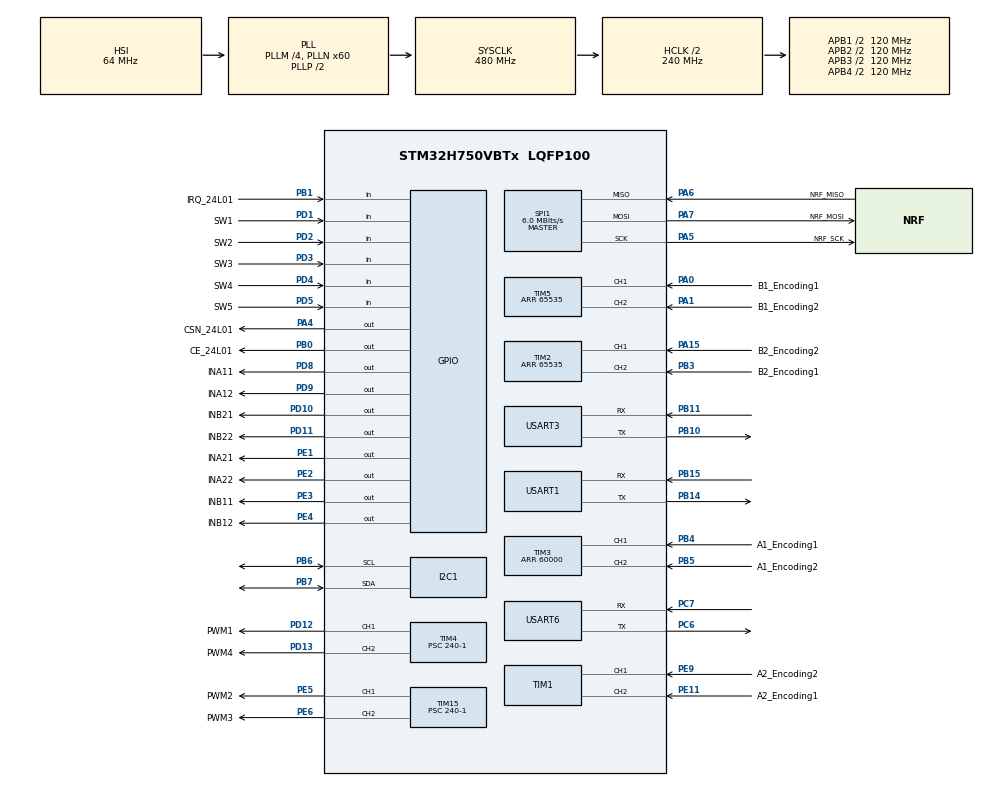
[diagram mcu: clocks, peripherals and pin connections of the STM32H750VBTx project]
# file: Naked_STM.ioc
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CORTEX_M7.default_mode_Activation=1
I2C1.Timing=0x307075B1
Mcu.Family=STM32H7
Mcu.Name=STM32H750VBTx
Mcu.Package=LQFP100
NVIC.PriorityGroup=NVIC_PRIORITYGROUP_4
NVIC.TIM1_CC_IRQn=true\:0\:0\:false\:false\:true\:true\:true\:true
NVIC.TIM2_IRQn=true\:0\:0\:false\:false\:true\:true\:true\:true
NVIC.TIM3_IRQn=true\:0\:0\:false\:false\:true\:true\:true\:true
NVIC.TIM5_IRQn=true\:0\:0\:false\:false\:true\:true\:true\:true
NVIC.TIM6_DAC_IRQn=true\:1\:0\:true\:false\:true\:true\:true\:true
NVIC.USART3_IRQn=true\:0\:0\:false\:false\:true\:true\:true\:true
NVIC.USART6_IRQn=true\:0\:0\:false\:false\:true\:true\:true\:true
PA0.GPIO_Label=B1_Encoding1
PA0.Signal=S_TIM5_CH1
PA1.GPIO_Label=B1_Encoding2
PA1.Signal=S_TIM5_CH2
PA15\ (JTDI).GPIO_Label=B2_Encoding2
PA15\ (JTDI).Signal=S_TIM2_CH1_ETR
PA4.GPIO_Label=CSN_24L01
PA4.GPIO_Speed=GPIO_SPEED_FREQ_MEDIUM
PA4.PinState=GPIO_PIN_SET
PA4.Signal=GPIO_Output
PA5.GPIO_Label=NRF_SCK
PA5.Mode=Full_Duplex_Master
PA5.Signal=SPI1_SCK
PA6.GPIO_Label=NRF_MISO
PA6.Mode=Full_Duplex_Master
PA6.Signal=SPI1_MISO
PA7.GPIO_Label=NRF_MOSI
PA7.Mode=Full_Duplex_Master
PA7.Signal=SPI1_MOSI
PB0.GPIO_Label=CE_24L01
PB0.GPIO_Speed=GPIO_SPEED_FREQ_MEDIUM
PB0.PinState=GPIO_PIN_SET
PB0.Signal=GPIO_Output
PB1.GPIO_Label=IRQ_24L01
PB1.GPIO_PuPd=GPIO_PULLUP
PB1.Signal=GPIO_Input
PB10.Mode=Asynchronous
PB10.Signal=USART3_TX
PB11.Mode=Asynchronous
PB11.Signal=USART3_RX
PB14.Mode=Asynchronous
PB14.Signal=USART1_TX
PB15.Mode=Asynchronous
PB15.Signal=USART1_RX
PB3\ (JTDO/TRACESWO).GPIO_Label=B2_Encoding1
PB3\ (JTDO/TRACESWO).Signal=S_TIM2_CH2
PB4\ (NJTRST).GPIO_Label=A1_Encoding1
PB4\ (NJTRST).Signal=S_TIM3_CH1
PB5.GPIO_Label=A1_Encoding2
PB5.Signal=S_TIM3_CH2
PB6.Mode=I2C
PB6.Signal=I2C1_SCL
PB7.Mode=I2C
PB7.Signal=I2C1_SDA
PC6.Mode=Asynchronous
PC6.Signal=USART6_TX
PC7.Mode=Asynchronous
PC7.Signal=USART6_RX
PD1.GPIO_Label=SW1
PD1.GPIO_PuPd=GPIO_PULLUP
PD1.Signal=GPIO_Input
PD10.GPIO_Label=INB21
PD10.Signal=GPIO_Output
PD11.GPIO_Label=INB22
PD11.Signal=GPIO_Output
PD12.GPIO_Label=PWM1
PD12.Signal=S_TIM4_CH1
PD13.GPIO_Label=PWM4
PD13.Signal=S_TIM4_CH2
PD2.GPIO_Label=SW2
PD2.GPIO_PuPd=GPIO_PULLUP
PD2.Signal=GPIO_Input
PD3.GPIO_Label=SW3
PD3.GPIO_PuPd=GPIO_PULLUP
PD3.Signal=GPIO_Input
PD4.GPIO_Label=SW4
PD4.GPIO_PuPd=GPIO_PULLUP
PD4.Signal=GPIO_Input
PD5.GPIO_Label=SW5
PD5.GPIO_PuPd=GPIO_PULLUP
PD5.Signal=GPIO_Input
PD8.GPIO_Label=INA11
PD8.Signal=GPIO_Output
PD9.GPIO_Label=INA12
PD9.Signal=GPIO_Output
PE1.GPIO_Label=INA21
PE1.Signal=GPIO_Output
PE11.GPIO_Label=A2_Encoding1
PE11.Signal=S_TIM1_CH2
PE2.GPIO_Label=INA22
PE2.Signal=GPIO_Output
PE3.GPIO_Label=INB11
PE3.Signal=GPIO_Output
PE4.GPIO_Label=INB12
PE4.Signal=GPIO_Output
PE5.GPIO_Label=PWM2
PE5.Signal=S_TIM15_CH1
PE6.GPIO_Label=PWM3
PE6.Signal=S_TIM15_CH2
PE9.GPIO_Label=A2_Encoding2
PE9.Signal=S_TIM1_CH1
PH0-OSC_IN\ (PH0).Mode=HSE-External-Oscillator
PH0-OSC_IN\ (PH0).Signal=RCC_OSC_IN
PH1-OSC_OUT\ (PH1).Mode=HSE-External-Oscillator
PH1-OSC_OUT\ (PH1).Signal=RCC_OSC_OUT
ProjectManager.HeapSize=0x200
ProjectManager.StackSize=0x400
ProjectManager.TargetToolchain=MDK-ARM V5.32
RCC.ADCFreq_Value=129000000
RCC.APB1Freq_Value=120000000
RCC.APB2Freq_Value=120000000
RCC.APB3Freq_Value=120000000
RCC.APB4Freq_Value=120000000
RCC.CortexFreq_Value=480000000
RCC.D1PPRE=RCC_APB3_DIV2
RCC.D2PPRE1=RCC_APB1_DIV2
RCC.D2PPRE2=RCC_APB2_DIV2
RCC.D3PPRE=RCC_APB4_DIV2
RCC.DIVM1=4
RCC.DIVN1=60
RCC.DIVQ1=5
RCC.HCLKFreq_Value=240000000
RCC.HPRE=RCC_HCLK_DIV2
RCC.PLL2FRACN=0
RCC.PLL3FRACN=0
RCC.PLLFRACN=0
RCC.SYSCLKFreq_VALUE=480000000
RCC.SYSCLKSource=RCC_SYSCLKSOURCE_PLLCLK
RCC.Tim1Mul=2
RCC.Tim2Mul=2
RCC.USBFreq_Value=192000000
SH.S_TIM15_CH1.0=TIM15_CH1,PWM Generation1 CH1
SH.S_TIM15_CH2.0=TIM15_CH2,PWM Generation2 CH2
SH.S_TIM1_CH1.0=TIM1_CH1,Encoder_Interface
SH.S_TIM1_CH2.0=TIM1_CH2,Encoder_Interface
SH.S_TIM2_CH1_ETR.0=TIM2_CH1,Encoder_Interface
SH.S_TIM2_CH2.0=TIM2_CH2,Encoder_Interface
SH.S_TIM3_CH1.0=TIM3_CH1,Encoder_Interface
SH.S_TIM3_CH2.0=TIM3_CH2,Encoder_Interface
SH.S_TIM4_CH1.0=TIM4_CH1,PWM Generation1 CH1
SH.S_TIM4_CH2.0=TIM4_CH2,PWM Generation2 CH2
SH.S_TIM5_CH1.0=TIM5_CH1,Encoder_Interface
SH.S_TIM5_CH2.0=TIM5_CH2,Encoder_Interface
SPI1.BaudRatePrescaler=SPI_BAUDRATEPRESCALER_32
SPI1.CalculateBaudRate=6.0 MBits/s
SPI1.DataSize=SPI_DATASIZE_8BIT
SPI1.Direction=SPI_DIRECTION_2LINES
SPI1.Mode=SPI_MODE_MASTER
SPI1.VirtualType=VM_MASTER
TIM1.EncoderMode=TIM_ENCODERMODE_TI12
TIM15.Channel-PWM\ Generation1\ CH1=TIM_CHANNEL_1
TIM15.Channel-PWM\ Generation2\ CH2=TIM_CHANNEL_2
TIM15.Period=499
TIM15.Prescaler=240-1
TIM2.EncoderMode=TIM_ENCODERMODE_TI12
TIM2.Period=65535
TIM3.EncoderMode=TIM_ENCODERMODE_TI12
TIM3.Period=60000
TIM4.Channel-PWM\ Generation1\ CH1=TIM_CHANNEL_1
TIM4.Channel-PWM\ Generation2\ CH2=TIM_CHANNEL_2
TIM4.Period=499
TIM4.Prescaler=240-1
TIM5.EncoderMode=TIM_ENCODERMODE_TI12
TIM5.Period=65535
TIM6.Period=10000-1
TIM6.Prescaler=2400-1
USART1.VirtualMode-Asynchronous=VM_ASYNC
USART3.VirtualMode-Asynchronous=VM_ASYNC
USART6.VirtualMode=VM_ASYNC
VP_TIM15_VS_ClockSourceINT.Mode=Internal
VP_TIM4_VS_ClockSourceINT.Mode=Internal
VP_TIM6_VS_ClockSourceINT.Mode=Enable_Timer
board=custom

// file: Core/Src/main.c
/* USER CODE BEGIN Header */
/**
 ******************************************************************************
 * @file           : main.c
 * @brief          : Main program body
 ******************************************************************************
 * @attention
 *
 * Copyright (c) 2024 STMicroelectronics.
 * All rights reserved.
 *
 * This software is licensed under terms that can be found in the LICENSE file
 * in the root directory of this software component.
 * If no LICENSE file comes with this software, it is provided AS-IS.
 *
 ******************************************************************************
 */
/* USER CODE END Header */
#include "main.h"
#include "i2c.h"
#include "spi.h"
#include "tim.h"
#include "usart.h"
#include "gpio.h"

/* USER CODE BEGIN PV */
uint8_t rxdata;
uint8_t serial_rxdata;
/* USER CODE END PV */

void SystemClock_Config(void);
static void MPU_Config(void);

int main(void)
{

  /* MPU Configuration--------------------------------------------------------*/
  MPU_Config();

  /* MCU Configuration--------------------------------------------------------*/

  /* Reset of all peripherals, Initializes the Flash interface and the Systick. */
  HAL_Init();

  /* Configure the system clock */
  SystemClock_Config();

  /* Initialize all configured peripherals */
  MX_GPIO_Init();
  MX_SPI1_Init();
  MX_USART1_UART_Init();
  MX_TIM2_Init();
  MX_TIM3_Init();
  MX_TIM4_Init();
  MX_USART3_UART_Init();
  MX_USART6_UART_Init();
  MX_TIM15_Init();
  MX_TIM1_Init();
  MX_TIM5_Init();
  MX_I2C1_Init();
  MX_TIM6_Init();
  /* USER CODE BEGIN 2 */

  // OLED_Test();
  // uint8_t Buf[32] = {4, 0xAF, 0X00, 0X00, 0XFA};
  // NRF24L01_Init(); // 此初始化不了，则程序停止
  // NRF24L01_TX_Mode(TX_ADDRESSChen);
  // HAL_Delay(500);
  // NRF24L01_SendBuf(Buf);
  // Serial_Printf("Cisok\r\n");
  // Buf[2]++;
  // NRF24L01_TX_Mode(TX_ADDRESSJia);
  // HAL_Delay(500);
  // NRF24L01_SendBuf(Buf);
  // Serial_Printf("Jisok\r\n");
  // Buf[2]++;
  // NRF24L01_TX_Mode(TX_ADDRESSTang);
  // HAL_Delay(500);
  // NRF24L01_SendBuf(Buf);
  // Serial_Printf("Tisok\r\n");
  HAL_TIM_Base_Start_IT(&htim6);                // 开启10ms中断
  HAL_TIM_Encoder_Start(&htim2, TIM_CHANNEL_1); // 开启编码器定时器
  HAL_TIM_Encoder_Start(&htim2, TIM_CHANNEL_2); // 开启编码器定时器
  __HAL_TIM_ENABLE_IT(&htim2, TIM_IT_UPDATE);   // 开启编码器定时器更新中断,防溢出处理
  __HAL_TIM_SET_COUNTER(&htim2, 30000);         // 将编码器定时器初始值设定为30000

  motor[0].encodingTIM_HandleTypeDef = htim3;
  motor[0].pwmTIM_HandleTypeDef = htim4;
  motor[0].pwmTIM_CHANNEL = TIM_CHANNEL_1;
  motor[0].targetSpeed=2.5;
  motor[0].pid.output=0;
  Motor_Init(motor[0]);
  L298N_SetSpeed("a1", 200);

  PID_Init(&motor[0].pid, 10, 0.0, 0.0, 0, 250);
  L298N_SetMode("a1", "right");
  /* USER CODE END 2 */

  /* Infinite loop */
  /* USER CODE BEGIN WHILE */
  while (1)
  {
    //  L298N_SetMode("a1", "right");
    // HAL_Delay(5000);
    // L298N_SetMode("a1", "left");
    // HAL_Delay(5000);
    // L298N_SetMode("a1", "stop");
    // HAL_Delay(5000);
    // Serial_Printf("I am serial\r\n");
    // Bluetooth_SendByte(0xaa);
    // GoStraight(300);
    // HAL_Delay(2000);
    // GoBack(300);
    // HAL_Delay(2000);
    // SpinTurnRight(300);
    // HAL_Delay(2000);
    // SpinTurnLeft(300);
    // HAL_Delay(2000);
    // Serial_Printf("%x",rxdata);
    // Serial_Printf("\r\n");
    // HAL_UART_Receive_IT(&huart6,(uint8_t *)&rxdata,1);
    // HAL_UART_Receive_IT(&huart1,(uint8_t *)&serial_rxdata,1);
    // Videographyhead_SendByte(rxdata);
    // Serial_SendByte(rxdata);
    // if(rxdata==1) GoStraight(350);
    // else if(rxdata==2) SpinTurnLeft(350);
    // else if(rxdata==3) SpinTurnRight(350);
    // else if(rxdata==4) GoBack(350);
    // else if(rxdata==5)
    // {
    //  L298N_SetMode("a1", "stop");
    //  L298N_SetMode("a2", "stop");
    //  L298N_SetMode("b1", "stop");
    //  L298N_SetMode("b2", "stop");
    // }
    /* USER CODE END WHILE */

  }
}

void SystemClock_Config(void)
{
  RCC_OscInitTypeDef RCC_OscInitStruct = {0};
  RCC_ClkInitTypeDef RCC_ClkInitStruct = {0};

  /** Supply configuration update enable
   */
  HAL_PWREx_ConfigSupply(PWR_LDO_SUPPLY);

  /** Configure the main internal regulator output voltage
   */
  __HAL_PWR_VOLTAGESCALING_CONFIG(PWR_REGULATOR_VOLTAGE_SCALE1);

  while (!__HAL_PWR_GET_FLAG(PWR_FLAG_VOSRDY))
  {
  }

  __HAL_RCC_SYSCFG_CLK_ENABLE();
  __HAL_PWR_VOLTAGESCALING_CONFIG(PWR_REGULATOR_VOLTAGE_SCALE0);

  while (!__HAL_PWR_GET_FLAG(PWR_FLAG_VOSRDY))
  {
  }

  /** Initializes the RCC Oscillators according to the specified parameters
   * in the RCC_OscInitTypeDef structure.
   */
  RCC_OscInitStruct.OscillatorType = RCC_OSCILLATORTYPE_HSI;
  RCC_OscInitStruct.HSIState = RCC_HSI_DIV1;
  RCC_OscInitStruct.HSICalibrationValue = RCC_HSICALIBRATION_DEFAULT;
  RCC_OscInitStruct.PLL.PLLState = RCC_PLL_ON;
  RCC_OscInitStruct.PLL.PLLSource = RCC_PLLSOURCE_HSI;
  RCC_OscInitStruct.PLL.PLLM = 4;
  RCC_OscInitStruct.PLL.PLLN = 60;
  RCC_OscInitStruct.PLL.PLLP = 2;
  RCC_OscInitStruct.PLL.PLLQ = 5;
  RCC_OscInitStruct.PLL.PLLR = 2;
  RCC_OscInitStruct.PLL.PLLRGE = RCC_PLL1VCIRANGE_3;
  RCC_OscInitStruct.PLL.PLLVCOSEL = RCC_PLL1VCOWIDE;
  RCC_OscInitStruct.PLL.PLLFRACN = 0;
  if (HAL_RCC_OscConfig(&RCC_OscInitStruct) != HAL_OK)
  {
    Error_Handler();
  }

  /** Initializes the CPU, AHB and APB buses clocks
   */
  RCC_ClkInitStruct.ClockType = RCC_CLOCKTYPE_HCLK | RCC_CLOCKTYPE_SYSCLK | RCC_CLOCKTYPE_PCLK1 | RCC_CLOCKTYPE_PCLK2 | RCC_CLOCKTYPE_D3PCLK1 | RCC_CLOCKTYPE_D1PCLK1;
  RCC_ClkInitStruct.SYSCLKSource = RCC_SYSCLKSOURCE_PLLCLK;
  RCC_ClkInitStruct.SYSCLKDivider = RCC_SYSCLK_DIV1;
  RCC_ClkInitStruct.AHBCLKDivider = RCC_HCLK_DIV2;
  RCC_ClkInitStruct.APB3CLKDivider = RCC_APB3_DIV2;
  RCC_ClkInitStruct.APB1CLKDivider = RCC_APB1_DIV2;
  RCC_ClkInitStruct.APB2CLKDivider = RCC_APB2_DIV2;
  RCC_ClkInitStruct.APB4CLKDivider = RCC_APB4_DIV2;

  if (HAL_RCC_ClockConfig(&RCC_ClkInitStruct, FLASH_LATENCY_4) != HAL_OK)
  {
    Error_Handler();
  }
}

/* USER CODE BEGIN 4 */

// 中断处理函数
void HAL_TIM_PeriodElapsedCallback(TIM_HandleTypeDef *htim)
{
  if (htim->Instance == htim6.Instance) // 100ms中断
  {
    int16_t pluse = COUNTERNUM(motor[0]) - RELOADVALUE(motor[0]) / 2; // 从开始到现在当前10ms的总脉冲数
    motor[0].totalAngle = pluse;
    // 进行速度计算,根据前文所说的,4倍频,编码器13位,减速比30,再乘以100即为每秒钟输出轴多少转
    // motor.totalAngle - motor.lastAngle为当前100ms内的增量，即脉冲数
    motor[0].speed = (float)(motor[0].totalAngle - motor[0].lastAngle) / (4 * 16 * RR) * 10;
    motor[0].lastAngle = motor[0].totalAngle; // 更新转过的圈数
    Motor_Send(motor[0]);
    Serial_Printf("%f\r\n", motor[0].speed);
  }
  // 如果是编码器更新中断,即10ms内,脉冲数超过了计数范围,需要进行处理
  else if (htim->Instance == motor[0].encodingTIM_HandleTypeDef.Instance)
  {
    // if (COUNTERNUM(motor[0]) > 10000)
    //   motor[0].loopNum++; // 向上计数超过10000，正溢出+1
    // else if (COUNTERNUM(motor[0]) < 10000)
    //   motor[0].loopNum--;                                             // 向下计数小于0，负溢出+1
    // __HAL_TIM_SetCounter(&motor[0].encodingTIM_HandleTypeDef, 30000); // 重新设定初始值
  }
}
/* USER CODE END 4 */

/* MPU Configuration */

void MPU_Config(void)
{
  MPU_Region_InitTypeDef MPU_InitStruct = {0};

  /* Disables the MPU */
  HAL_MPU_Disable();

  /** Initializes and configures the Region and the memory to be protected
   */
  MPU_InitStruct.Enable = MPU_REGION_ENABLE;
  MPU_InitStruct.Number = MPU_REGION_NUMBER0;
  MPU_InitStruct.BaseAddress = 0x0;
  MPU_InitStruct.Size = MPU_REGION_SIZE_4GB;
  MPU_InitStruct.SubRegionDisable = 0x87;
  MPU_InitStruct.TypeExtField = MPU_TEX_LEVEL0;
  MPU_InitStruct.AccessPermission = MPU_REGION_NO_ACCESS;
  MPU_InitStruct.DisableExec = MPU_INSTRUCTION_ACCESS_DISABLE;
  MPU_InitStruct.IsShareable = MPU_ACCESS_SHAREABLE;
  MPU_InitStruct.IsCacheable = MPU_ACCESS_NOT_CACHEABLE;
  MPU_InitStruct.IsBufferable = MPU_ACCESS_NOT_BUFFERABLE;

  HAL_MPU_ConfigRegion(&MPU_InitStruct);
  /* Enables the MPU */
  HAL_MPU_Enable(MPU_PRIVILEGED_DEFAULT);
}

void Error_Handler(void)
{
  __disable_irq();
  while (1)
  {
  }
}
